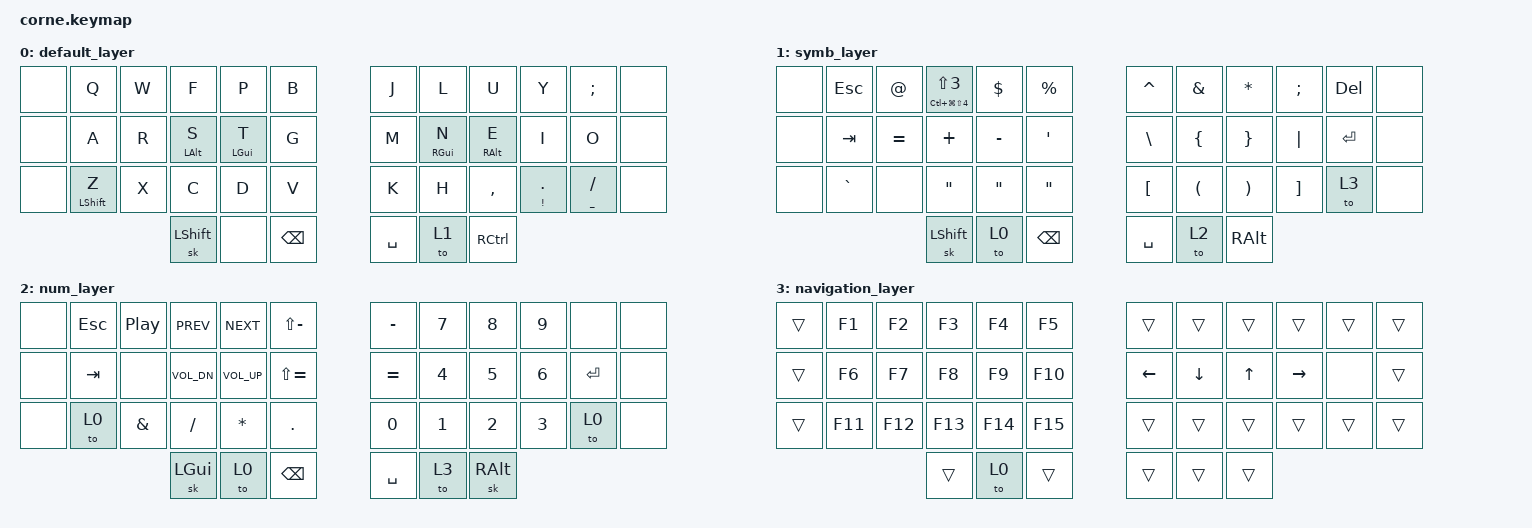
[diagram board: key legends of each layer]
/*
 * Copyright (c) 2020 The ZMK Contributors
 *
 * SPDX-License-Identifier: MIT
 */
/* TODO: */
/* 1. Add function key layer to start debuggers, use both raise and lower keys */
/* 2. Add sticky key and momentary to hold tap on symbols layer */

#include <behaviors.dtsi>
#include <dt-bindings/zmk/keys.h>

&mt {
    tapping-term-ms = <201>;
    flavor = "tap-preferred";
};

&sk {
    // don't release mods on other mods presses

    ignore-modifiers;
};

#define AL 0
#define SYM 1
#define NUM 2
#define FUNCS 3
#define SETTINGS 4

#define STAG(keycode) &dwm_ht LA(keycode) keycode // switch tag macro
#define hm_lc(keycode) &hm LCTL keycode
#define hm_rc(keycode) &hm RCTL keycode
#define hm_la(keycode) &hm LALT keycode
#define hm_ra(keycode) &hm RALT keycode

/ {
    behaviors {
        hm: homerow_mods {
            compatible = "zmk,behavior-hold-tap";
            label = "HOMEROW_MODS";
            #binding-cells = <2>;
            tapping-term-ms = <200>;
            quick_tap_ms = <0>;
            flavor = "tap-preferred";
            bindings = <&kp>, <&kp>;
        };

        td: tapdance {
            compatible = "zmk,behavior-hold-tap";
            label = "TAPDANCE";
            #binding-cells = <2>;
            tapping-term-ms = <150>;
            quick_tap_ms = <0>;
            flavor = "tap-preferred";
            bindings = <&kp>, <&kp>;
        };
    };

    keymap {
        compatible = "zmk,keymap";

        // BASE ALPHABET LAYER

        default_layer {
            // ------------------------------------------------------------------
            // |  Q  |  W  |  F  |  P  |  B  |   |  J  |  L   |  U  |  Y  |  ;  |
            // |  A  |  R  |  S  |  T  |  G  |   |  M  |  N   |  E  |  I  |  O  |
            // |  Z  |  X  |  C  |  D  |  V  |   |  K  |  H   |  ,  |  .  |  /  |
            //             | RPT | RSE |BSPC |   | SPC | ENT  | RPT |

            bindings = <
&none  &kp Q        &kp W  &kp F       &kp P       &kp B       &kp J      &kp L       &kp U       &kp Y         &kp SEMI              &none
&none  &kp A        &kp R  &hm LALT S  &hm LGUI T  &kp G       &kp M      &hm RGUI N  &hm RALT E  &kp I         &kp O                 &none
&none  &mt LSHFT Z  &kp X  &kp C       &kp D       &kp V       &kp K      &kp H       &kp COMMA   &td EXCL DOT  &td UNDERSCORE SLASH  &none
                           &sk LSHIFT  &none       &kp BSPC    &kp SPACE  &to 1       &kp RCTRL
            >;
        };

        // SYMBOL LAYER

        symb_layer {
            // ------------------------------------------------------------------
            // |  ESC  |  @  |  #  |  $  |  %  |   |  ^  |  &  |  *  |  ;  |  BKSP  |
            // |  TAB  |  =  |  +  |  -  |  '  |   |  \  |  {  |  }  |  |  |  RET   |
            // |  `    |  £  |  "  |  "  |  "  |   |  [  |  (  |  )  |  ]  |  TO 3  |
            //             | RPT | RSE |BSPC |   | SPC | ENT  | RPT |

            bindings = <
&none  &kp ESC    &kp AT     &td LC(LG(LS(N4))) LS(N3)  &kp DLLR   &kp PRCNT    &kp CARET  &kp AMPS              &kp STAR               &kp SEMI  &kp DEL    &none
&none  &kp TAB    &kp EQUAL  &kp PLUS                   &kp MINUS  &kp SQT      &kp BSLH   &kp LBRC              &kp RBRC               &kp PIPE  &kp ENTER  &none
&none  &kp GRAVE  &none      &kp DQT                    &kp DQT    &kp DQT      &kp LBKT   &kp LEFT_PARENTHESIS  &kp RIGHT_PARENTHESIS  &kp RBKT  &to 3      &none
                             &sk LSHIFT                 &to 0      &kp BSPC     &kp SPACE  &to 2                 &kp RALT
            >;
        };

        // NUMPAD & AUDIO CONTROL	

        num_layer {
            // ------------------------------------------------------------------
            // |  ESC   |  play/pause  |  PREV   |  NEXT    |  _    |   |  -  |  7   |  8  |  9  |       |
            // |  TAB   |              |  VOL DN |  VOL UP  |  ???  |   |  =  |  4   |  5  |  6  |  RET  |
            // |  TO 4  |  &           |  /      |  *       |  .    |   |  0  |  1   |  2  |  3  |       |
            //                         | RPT     | RSE      |BSPC   |   | SPC | ENT  | RPT |

            bindings = <
&none  &kp ESC  &kp C_PP  &kp C_PREV    &kp C_NEXT    &kp LS(MINUS)    &kp MINUS  &kp N7  &kp N8    &kp N9  &none      &none
&none  &kp TAB  &none     &kp C_VOL_DN  &kp C_VOL_UP  &kp LS(EQUAL)    &kp EQUAL  &kp N4  &kp N5    &kp N6  &kp ENTER  &none
&none  &to 0    &kp AMPS  &kp SLASH     &kp STAR      &kp DOT          &kp N0     &kp N1  &kp N2    &kp N3  &to 0      &none
                          &sk LGUI      &to 0         &kp BSPC         &kp SPACE  &to 3   &sk RALT
            >;
        };

        // FUNCTION LAYER

        navigation_layer {
            bindings = <
&trans  &kp F1   &kp F2   &kp F3   &kp F4   &kp F5     &trans    &trans    &trans        &trans     &trans  &trans
&trans  &kp F6   &kp F7   &kp F8   &kp F9   &kp F10    &kp LEFT  &kp DOWN  &kp UP_ARROW  &kp RIGHT  &none   &trans
&trans  &kp F11  &kp F12  &kp F13  &kp F14  &kp F15    &trans    &trans    &trans        &trans     &trans  &trans
                          &trans   &to 0    &trans     &trans    &trans    &trans
            >;
        };
    };
};
